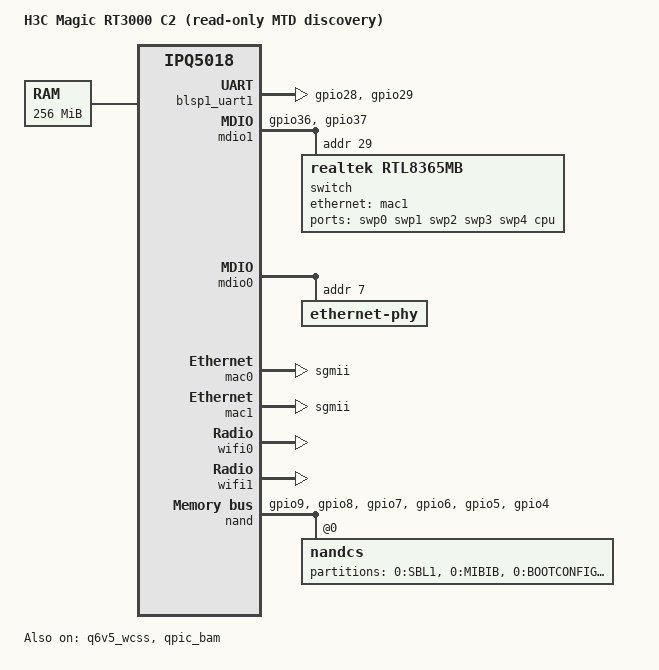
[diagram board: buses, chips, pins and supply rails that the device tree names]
// SPDX-License-Identifier: GPL-2.0-or-later OR MIT

/dts-v1/;

#include "ipq5018.dtsi"

/ {
	model = "H3C Magic RT3000 C2 (read-only MTD discovery)";
	compatible = "h3c,rt3000-rtl8367s", "h3c,rt3000-rtl8367s-mtd-discovery",
             "qcom,ipq5018-mp03.1-c2",
		     "qcom,ipq5018";

	#address-cells = <2>;
	#size-cells = <2>;
	interrupt-parent = <&intc>;

	aliases {
		serial0 = &blsp1_uart1;
		ethernet0 = &mac0;
		ethernet1 = &mac1;
	};

	chosen {
		stdout-path = "serial0:115200n8";
		/* Standard property: this QSDK tree does not parse bootargs-append. */
		bootargs = "console=ttyMSM0,115200n8 init=/init";
	};

	/*
	 * C DRAM capacity is user-confirmed from GDP1BFLM marking: 256 MiB.
	 * Current-C active FDT /memory/reg and dmesg memblock independently report
	 * base 0x40000000, size 0x10000000. OEM FIT's separate static C2 FDT says
	 * 512 MiB; that disagrees with the active runtime map and is not used here.
	 */
	memory {
		device_type = "memory";
		reg = <0x0 0x40000000 0x0 0x10000000>;
	};

	/*
	 * The current-C active OEM FDT explicitly has q6_mem_regions at
	 * 0x4b000000+0x04500000; /proc/iomem also excludes this exact span from
	 * System RAM (through 0x4f4fffff). Preserve this C-specific reservation so
	 * Linux cannot allocate it while the C Q6 and first two Wi-Fi PDs are active.
	 */
	reserved-memory {
		q6_mem_regions: q6_mem_regions@4b000000 {
			no-map;
			reg = <0x0 0x4b000000 0x0 0x04500000>;
		};
	};
};

/*
 * The single no-map q6_mem_regions reservation protects the OEM subregion map
 * without registering overlapping reserved-memory siblings.  ath11k's QDSS
 * code resolves these two ETR resource names directly from the device tree.
 */
/ {
	q6_memory_layout {
		#address-cells = <2>;
		#size-cells = <2>;
		ranges;

		q6_etr_dump@4d200000 {
			reg = <0x0 0x4d200000 0x0 0x00100000>;
		};

		q6_qcn6122_etr_1@4e300000 {
			reg = <0x0 0x4e300000 0x0 0x00100000>;
		};
	};
};

&tlmm {
	blsp_uart0_pins: blsp_uart0_pins {
		pins = "gpio28", "gpio29";
		function = "blsp0_uart1";
		drive-strength = <8>;
		bias-disable;
	};

	mdio1_pins: mdio1_pins {
		mdc {
			pins = "gpio36";
			function = "mdc";
			drive-strength = <8>;
			bias-pull-up;
		};

		mdio {
			pins = "gpio37";
			function = "mdio";
			drive-strength = <8>;
			bias-pull-up;
		};
	};
};

&blsp1_uart1 {
	pinctrl-0 = <&blsp_uart0_pins>;
	pinctrl-names = "default";
	status = "okay";
};

/* C-only RTL8367S DSA switch on MDIO1. */
&mdio1 {
	#address-cells = <1>;
	#size-cells = <0>;
	pinctrl-0 = <&mdio1_pins>;
	pinctrl-names = "default";
	status = "okay";

	switch@1d {
		compatible = "realtek,rtl8365mb";
		reg = <29>;

		ports {
			#address-cells = <1>;
			#size-cells = <0>;

			port@0 { reg = <0>; label = "swp0"; };
			port@1 { reg = <1>; label = "swp1"; };
			port@2 { reg = <2>; label = "swp2"; };
			port@3 { reg = <3>; label = "swp3"; };
			port@4 { reg = <4>; label = "swp4"; };

			/* RTL8367S EXT1/port 6 uses a 2.5G HSGMII SerDes lane.
			 * 2500base-x represents the fixed lane rate to phylink.
			 */
			port@6 {
				reg = <6>;
				label = "cpu";
				ethernet = <&mac1>;
				phy-mode = "2500base-x";

				fixed-link {
					speed = <2500>;
					full-duplex;
				};
			};
		};
	};
};

/* C2 OEM topology: MAC0's internal GE PHY is at MDIO0 address 7. */
&mdio0 {
	status = "okay";

	ethernet-phy@7 {
		reg = <7>;
	};
};

/*
 * Re-enable the IPQ5018 MAC/ESS path using the current C2 OEM FDT values.
 * The external QCA83xx node from that FDT is intentionally not instantiated:
 * this board's switch is RTL8367S and its configuration remains separate.
 */
&soc {
	ess-instance {
		ess-switch@0x39c00000 {
			device_id = <0>;
			switch_mac_mode = <0x0c>;
			cmnblk_clk = "internal_96MHz";
			status = "okay";

			qcom,port_phyinfo {
				port@0 {
					port_id = <1>;
					mdiobus = <&mdio0>;
					phy_address = <7>;
				};

				port@1 {
					port_id = <2>;
					forced-speed = <2500>;
					forced-duplex = <1>;
				};
			};
		};
	};

	ess-uniphy@98000 {
		status = "okay";
	};

	/* Exact dp1/dp2 properties from the current C2 OEM FDT. */
	mac0: dp1 {
		compatible = "qcom,nss-dp";
		device_type = "network";
		clocks = <&gcc GCC_SNOC_GMAC0_AXI_CLK>;
		clock-names = "nss-snoc-gmac-axi-clk";
		qcom,id = <1>;
		reg = <0x39c00000 0x10000>;
		interrupts = <GIC_SPI 101 IRQ_TYPE_LEVEL_HIGH>;
		qcom,mactype = <2>;
		qcom,link-poll = <1>;
		qcom,phy-mdio-addr = <7>;
		mdio-bus = <&mdio0>;
		local-mac-address = [000000000000];
		phy-mode = "sgmii";
	};

	mac1: dp2 {
		compatible = "qcom,nss-dp";
		device_type = "network";
		clocks = <&gcc GCC_SNOC_GMAC1_AXI_CLK>;
		clock-names = "nss-snoc-gmac-axi-clk";
		qcom,id = <2>;
		reg = <0x39d00000 0x10000>;
		interrupts = <GIC_SPI 109 IRQ_TYPE_LEVEL_HIGH>;
		qcom,mactype = <2>;
		local-mac-address = [000000000000];
		phy-mode = "sgmii";
	};
};

/* This RAM-only candidate does not bring up coresight or Bluetooth. */
&tmc_etr {
	/delete-property/ memory-region;
	status = "disabled";
};

&q6v5_wcss {
	compatible = "qcom,ipq5018-q6-mpd";
	#address-cells = <1>;
	#size-cells = <1>;
	ranges;

	resets =
		<&gcc GCC_WCSSAON_RESET>,
		<&gcc GCC_WCSS_Q6_BCR>;
	reset-names = "wcss_aon_reset", "wcss_q6_reset";

	clocks =
		<&gcc GCC_Q6_AXIS_CLK>,
		<&gcc GCC_WCSS_ECAHB_CLK>,
		<&gcc GCC_Q6_AXIM_CLK>,
		<&gcc GCC_Q6_AXIM2_CLK>,
		<&gcc GCC_Q6_AHB_CLK>,
		<&gcc GCC_Q6_AHB_S_CLK>,
		<&gcc GCC_WCSS_AXI_S_CLK>;
	clock-names =
		"gcc_q6_axis_clk",
		"gcc_wcss_ecahb_clk",
		"gcc_q6_axim_clk",
		"gcc_q6_axim2_clk",
		"gcc_q6_ahb_clk",
		"gcc_q6_ahb_s_clk",
		"gcc_wcss_axi_s_clk";

	reg =
		<0x0cd00000 0x4040>,
		<0x01938000 0x8>,
		<0x0193d204 0x4>;
	reg-names = "qdsp6", "tcsr-msip", "tcsr-q6";
	memory-region = <&q6_mem_regions>;
	qcom,rproc = <&q6v5_wcss>;
	firmware = "IPQ5018/q6_fw.mdt";
	qcom,bootargs_smem = <507>;
	boot-args = <0x1 0x4 0x3 0x0f 0x0 0x0>,
		    <0x2 0x4 0x2 0x12 0x0 0x0>;
	status = "okay";

	q6_wcss_pd1: remoteproc_pd1@4ab000 {
		compatible = "qcom,ipq5018-wcss-ahb-mpd";
		resets =
			<&gcc GCC_WCSSAON_RESET>,
			<&gcc GCC_WCSS_BCR>,
			<&gcc GCC_CE_BCR>;
		reset-names = "wcss_aon_reset", "wcss_reset", "ce_reset";
		clocks =
			<&gcc GCC_WCSS_AHB_S_CLK>,
			<&gcc GCC_WCSS_ACMT_CLK>,
			<&gcc GCC_WCSS_AXI_M_CLK>;
		clock-names = "gcc_wcss_ahb_s_clk", "gcc_wcss_acmt_clk",
			      "gcc_wcss_axi_m_clk";
		reg = <0x4ab000 0x20>;
		reg-names = "rmb";
		qcom,halt-regs = <&tcsr_q6_block 0xa000 0xd000 0x0>;
		interrupts-extended =
			<&wcss_smp2p_in 8 0>,
			<&wcss_smp2p_in 9 0>,
			<&wcss_smp2p_in 12 0>,
			<&wcss_smp2p_in 11 0>;
		interrupt-names = "fatal", "ready", "spawn-ack", "stop-ack";
		qcom,smem-states =
			<&wcss_smp2p_out 8>,
			<&wcss_smp2p_out 9>,
			<&wcss_smp2p_out 10>;
		qcom,smem-state-names = "shutdown", "stop", "spawn";
		firmware = "IPQ5018/q6_fw.mdt";
		m3_firmware = "IPQ5018/m3_fw.mdt";
	};

	q6_wcss_pd2: remoteproc_pd2 {
		compatible = "qcom,ipq5018-wcss-pcie-mpd";
		interrupts-extended =
			<&wcss_smp2p_in 16 0>,
			<&wcss_smp2p_in 17 0>,
			<&wcss_smp2p_in 20 0>,
			<&wcss_smp2p_in 19 0>;
		interrupt-names = "fatal", "ready", "spawn-ack", "stop-ack";
		qcom,smem-states =
			<&wcss_smp2p_out 16>,
			<&wcss_smp2p_out 17>,
			<&wcss_smp2p_out 18>;
		qcom,smem-state-names = "shutdown", "stop", "spawn";
		firmware = "IPQ5018/q6_fw.mdt";
		m3_firmware = "qcn6122/m3_fw.mdt";
	};
};

&wifi0 {
	/* C active OEM FDT: target memory mode 2 selects BDF address 0x4c400000. */
	nss-radio-priority = <0>;
	qcom,multipd_arch;
	qcom,rproc = <&q6_wcss_pd1>;
	qcom,userpd-subsys-name = "q6v5_wcss_userpd1";
	qcom,board_id = <0x23>;
	qcom,bdf-addr = <0x0 0x0 0x4c400000>;
	qcom,caldb-addr = <0>;
	m3-dump-addr = <0x4d100000>;
	status = "okay";
};

&wifi1 {
	/* C active OEM FDT: target memory mode 2 selects BDF address 0x4d300000. */
	nss-radio-priority = <1>;
	qcom,multipd_arch;
	qcom,rproc = <&q6_wcss_pd2>;
	qcom,userpd-subsys-name = "q6v5_wcss_userpd2";
	qcom,board_id = <0xb0>;
	qcom,bdf-addr = <0x0 0x0 0x4d300000>;
	qcom,caldb-addr = <0>;
	m3-dump-addr = <0x4e200000>;
	status = "okay";
};

&wifi2 {
	status = "disabled";
};

&nss0 {
	status = "disabled";
};

&bt {
	status = "disabled";
};


/* C pinmux verified from the active OEM FDT. */
&tlmm {
 c_qspi_nand_pins: c_qspi_nand_pins {
  clock { pins = "gpio9"; function = "qspi_clk"; drive-strength = <8>; bias-disable; };
  cs { pins = "gpio8"; function = "qspi_cs"; drive-strength = <8>; bias-disable; };
  data0 { pins = "gpio7"; function = "qspi_data"; drive-strength = <8>; bias-disable; };
  data1 { pins = "gpio6"; function = "qspi_data"; drive-strength = <8>; bias-disable; };
  data2 { pins = "gpio5"; function = "qspi_data"; drive-strength = <8>; bias-disable; };
  data3 { pins = "gpio4"; function = "qspi_data"; drive-strength = <8>; bias-disable; };
 };
};
&qpic_bam { status = "okay"; };
&nand {
 pinctrl-0 = <&c_qspi_nand_pins>;
 pinctrl-names = "default";
 status = "okay";
 h3c,rt3000-mtd-discovery-read-only;
 nandcs@0 {
  nand-ecc-strength = <4>;
  nand-ecc-step-size = <512>;
   partition@0 { label = "0:SBL1"; reg = <0x000000 0x080000>; read-only; };
   partition@80000 { label = "0:MIBIB"; reg = <0x080000 0x080000>; read-only; };
   partition@100000 { label = "0:BOOTCONFIG"; reg = <0x100000 0x040000>; read-only; };
   partition@140000 { label = "0:BOOTCONFIG1"; reg = <0x140000 0x040000>; read-only; };
   partition@180000 { label = "0:QSEE"; reg = <0x180000 0x100000>; read-only; };
   partition@280000 { label = "0:QSEE_1"; reg = <0x280000 0x100000>; read-only; };
   partition@380000 { label = "0:DEVCFG"; reg = <0x380000 0x040000>; read-only; };
   partition@3c0000 { label = "0:DEVCFG_1"; reg = <0x3c0000 0x040000>; read-only; };
   partition@400000 { label = "0:CDT"; reg = <0x400000 0x040000>; read-only; };
   partition@440000 { label = "0:CDT_1"; reg = <0x440000 0x040000>; read-only; };
   partition@480000 { label = "0:APPSBLENV"; reg = <0x480000 0x080000>; read-only; };
   partition@500000 { label = "0:APPSBL"; reg = <0x500000 0x140000>; read-only; };
   partition@640000 { label = "0:APPSBL_1"; reg = <0x640000 0x140000>; read-only; };
   partition@780000 { label = "0:ART"; reg = <0x780000 0x100000>; read-only; };
   partition@880000 { label = "0:TRAINING"; reg = <0x880000 0x080000>; read-only; };
   partition@900000 { label = "rootfs"; reg = <0x900000 0x2800000>; read-only; };
   partition@3100000 { label = "rootfs_1"; reg = <0x3100000 0x2800000>; read-only; };
   partition@5900000 { label = "pdt_data"; reg = <0x5900000 0x0600000>; read-only; };
   partition@5f00000 { label = "pdt_data_1"; reg = <0x5f00000 0x0600000>; read-only; };
   partition@6500000 { label = "exp"; reg = <0x6500000 0x0100000>; read-only; };
   partition@6600000 { label = "plugin"; reg = <0x6600000 0x1700000>; read-only; };
 };
};
